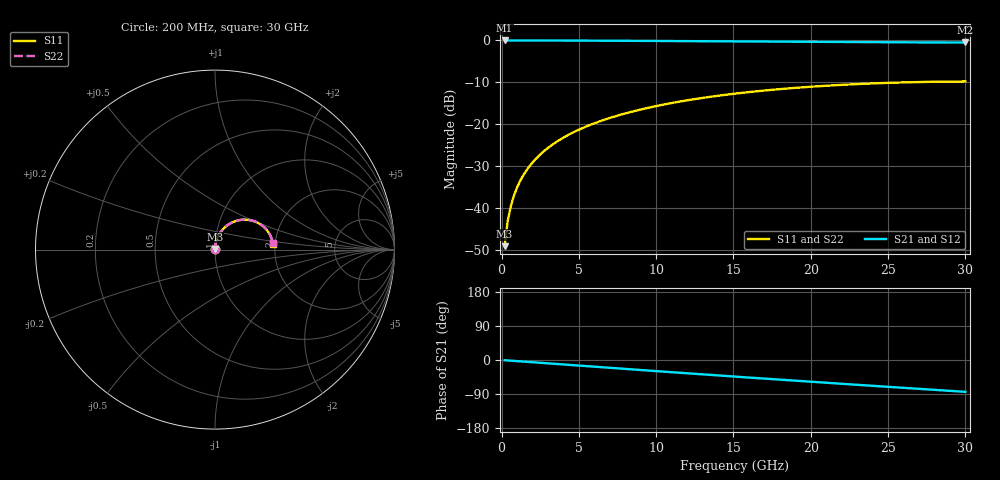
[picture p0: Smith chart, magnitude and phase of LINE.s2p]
! Created Wed Oct 23 12:48:10 2024
! List of port names and net name(s): example Port n = <port_name> <net_name1> <net_name2> ...
! Port 1 = P1 N_gnd N_gnd N_gnd
! Port 2 = P4 N_gnd N_gnd N_gnd
# hz S ma R 50
! 2 Port Network Data from data block
! freq  magS11  angS11  magS21  angS21  magS12  angS12  magS22  angS22
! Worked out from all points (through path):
!   150 points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, 200 MHz to 30 GHz, reference 50 ohm
!   highest |S21| = 0.00 dB at 200 MHz (marker M1); lowest = -0.5 dB at 30 GHz (marker M2)
!   group delay of S21, straight-line fit = 7.78 ps
!   lowest |S11| = -49.2 dB at 200 MHz (marker M3), VSWR 1.01, Z = 50 + j0.348 ohm
!   |S11| at or under -10 dB: start of sweep to 26.25 GHz
!   |S22| runs from -49.2 to -9.8 dB; largest |S21 - S12| = 0
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2e8  0.003477 89.4  1 -0.6  1 -0.6  0.003477 89.4
4e8  0.006954 88.8  1 -1.2  1 -1.2  0.006954 88.8
6e8  0.01043 88.2  0.9999 -1.8  0.9999 -1.8  0.01043 88.2
8e8  0.0139 87.6  0.9999 -2.4  0.9999 -2.4  0.0139 87.6
1e9  0.01738 87.0  0.9998 -3.0  0.9998 -3.0  0.01738 87.0
1.2e9  0.02085 86.4  0.9998 -3.6  0.9998 -3.6  0.02085 86.5
1.6e9  0.02778 85.2  0.9996 -4.7  0.9996 -4.7  0.02778 85.3
2.2e9  0.03815 83.5  0.9993 -6.5  0.9993 -6.5  0.03815 83.5
3e9  0.05189 81.1  0.9987 -8.9  0.9987 -8.9  0.05189 81.1
4e9  0.06892 78.1  0.9976 -11.8  0.9976 -11.8  0.06892 78.2
5.2e9  0.08903 74.6  0.996 -15.4  0.996 -15.4  0.08903 74.7
6.2e9  0.1055 71.7  0.9944 -18.3  0.9944 -18.3  0.1055 71.8
7.4e9  0.1247 68.1  0.9922 -21.8  0.9922 -21.8  0.1247 68.3
8.8e9  0.1464 64.1  0.9892 -25.9  0.9892 -25.9  0.1464 64.2
1.02e10  0.1673 60.0  0.9859 -29.9  0.9859 -29.9  0.1673 60.2
1.26e10  0.2005 53.1  0.9797 -36.8  0.9797 -36.8  0.2005 53.3
1.52e10  0.2326 45.8  0.9726 -44.1  0.9726 -44.1  0.2326 46.0
1.76e10  0.2582 39.1  0.9661 -50.8  0.9661 -50.8  0.2582 39.4
2.02e10  0.2815 31.9  0.9596 -57.9  0.9596 -57.9  0.2815 32.3
2.26e10  0.2986 25.4  0.9544 -64.4  0.9544 -64.4  0.2986 25.8
2.52e10  0.3122 18.4  0.95 -71.4  0.95 -71.4  0.3122 18.9
3e10  0.3238 5.6  0.9461 -84.1  0.9461 -84.1  0.3238 6.2
